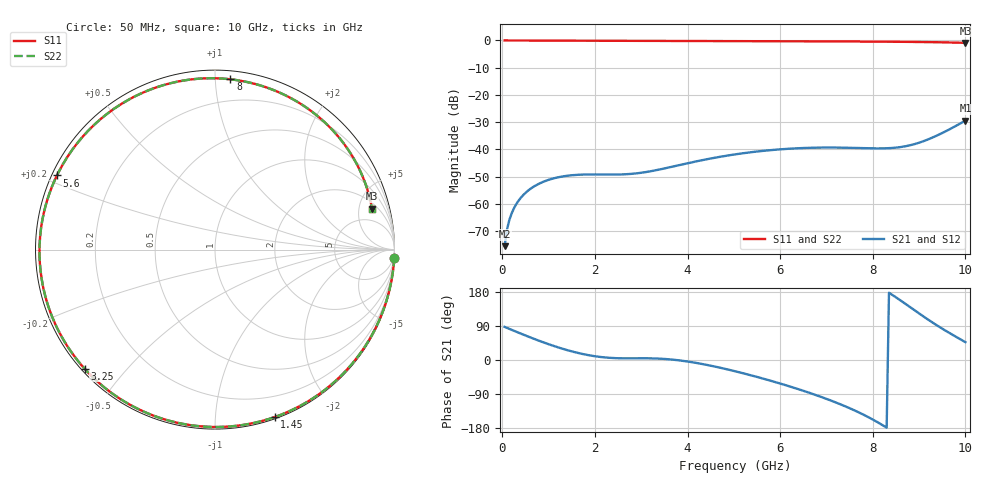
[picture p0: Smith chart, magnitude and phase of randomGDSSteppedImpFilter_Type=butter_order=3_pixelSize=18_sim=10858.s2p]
! freq	dB(S11)	phase(S11)	dB(S12)	phase(S12)
!  dB(S21)	phase(S21)	dB(S22)	phase(S22)
!S-par simulation data
#  GHz  S  DB  R 50
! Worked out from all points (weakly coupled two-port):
!   200 points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, 50 MHz to 10 GHz, reference 50 ohm
!   highest |S21| = -29.43 dB at 10 GHz (marker M1); lowest = -75.5 dB at 50 MHz (marker M2)
!   lowest |S11| = -0.9 dB at 10 GHz (marker M3), VSWR 19.77, Z = 136 + j337 ohm
!   |S11| at or under -10 dB: nowhere
!   |S22| runs from -0.9 to 0.0 dB; largest |S21 - S12| = 0
!   S11 on the Smith chart (normalised r, x): 50 MHz: 0, -44; 1.45 GHz: 0.01, -1.42; 3.25 GHz: 0.01, -0.39; 5.6 GHz: 0.01, +0.22; 8 GHz: 0.05, +1.09; 10 GHz: 2.72, +6.75
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0.05  -0.00 -2.6  -75.52 87.4  -75.52 87.4  -0.00 -2.6
0.1  -0.01 -5.2  -69.52 84.8  -69.52 84.8  -0.01 -5.2
0.2  -0.02 -10.3  -63.56 79.7  -63.56 79.7  -0.02 -10.3
0.3  -0.02 -15.4  -60.13 74.6  -60.13 74.6  -0.02 -15.4
0.45  -0.03 -23.0  -56.80 67.2  -56.80 67.2  -0.03 -23.0
0.85  -0.05 -42.7  -52.14 48.2  -52.14 48.2  -0.05 -42.7
1.45  -0.08 -70.4  -49.57 24.4  -49.57 24.4  -0.08 -70.4
1.75  -0.10 -83.2  -49.23 15.4  -49.23 15.4  -0.10 -83.2
2.4  -0.12 -108.6  -49.24 5.1  -49.24 5.1  -0.12 -108.6
3.25  -0.14 -137.6  -47.87 4.2  -47.87 4.2  -0.14 -137.6
3.4  -0.15 -142.3  -47.36 3.5  -47.36 3.5  -0.15 -142.3
4.2  -0.17 -166.2  -44.36 -7.9  -44.36 -7.9  -0.17 -166.2
5.05  -0.21 170.0  -41.76 -30.3  -41.76 -30.3  -0.21 170.0
5.6  -0.24 154.9  -40.59 -48.0  -40.59 -48.0  -0.24 154.9
6.15  -0.27 139.7  -39.80 -67.6  -39.80 -67.6  -0.27 139.7
6.7  -0.31 124.1  -39.38 -89.4  -39.38 -89.4  -0.31 124.1
7.4  -0.36 103.5  -39.38 -121.9  -39.38 -121.9  -0.36 103.5
8  -0.42 84.8  -39.63 -157.1  -39.63 -157.1  -0.42 84.9
8.35  -0.46 73.5  -39.54 177.5  -39.54 177.5  -0.46 73.5
9.1  -0.58 47.8  -36.95 114.4  -36.95 114.4  -0.58 47.9
9.55  -0.70 31.5  -33.56 79.0  -33.56 79.0  -0.70 31.6
10  -0.88 14.6  -29.43 47.1  -29.43 47.1  -0.88 14.6
